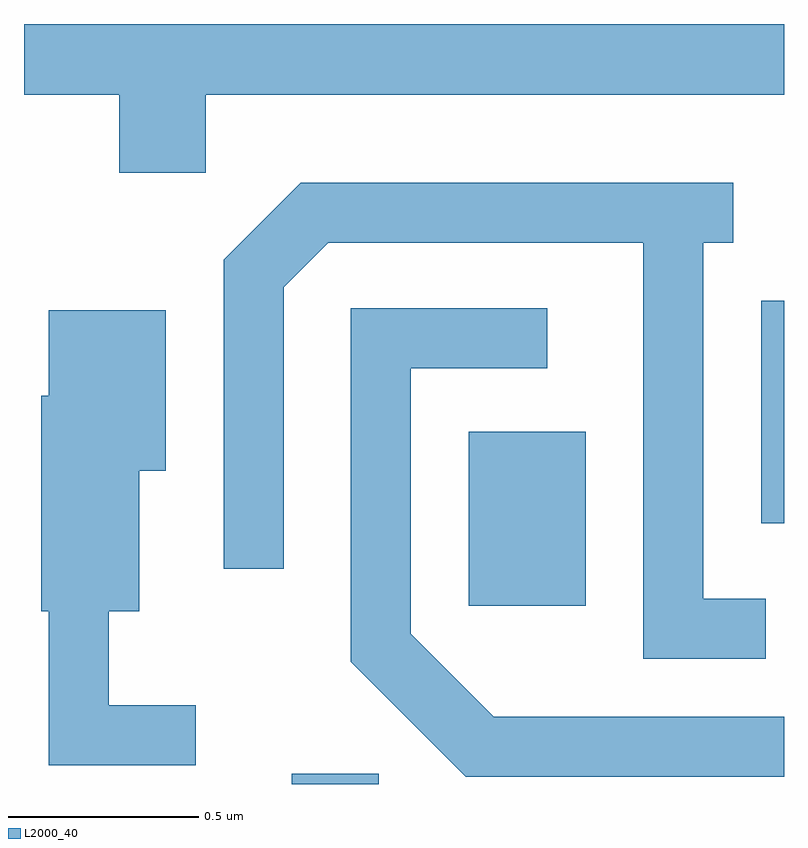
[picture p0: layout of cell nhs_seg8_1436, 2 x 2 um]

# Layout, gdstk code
import gdstk
lib = gdstk.Library(unit=1e-6, precision=1e-09)
def R(c, l, rs):  # rectangles x0, y0, x1, y1
    for r in rs: c.add(gdstk.rectangle(r[:2], r[2:], *l))
def P(c, l, *ps):  # polygons
    for p in ps: c.add(gdstk.Polygon(p, *l))
L2000_40 = (2000, 40)

nhs_seg8_1436 = lib.new_cell('nhs_seg8_1436')
R(nhs_seg8_1436, L2000_40, [(196.316,1872.342,196.544,1872.369), (196.781,1872.811,197.089,1873.269), (197.551,1873.028,197.611,1873.614)])
P(nhs_seg8_1436, L2000_40, [(196.089,1874.156),(197.611,1874.156),(197.611,1874.342),(195.611,1874.342),(195.611,1874.156),(195.861,1874.156),(195.861,1873.951),(196.089,1873.951)],
  [(197.563,1872.829),(197.399,1872.829),(197.399,1873.766),(197.478,1873.766),(197.478,1873.924),(196.339,1873.924),(196.136,1873.722),(196.136,1872.908),(196.294,1872.908),(196.294,1873.649),(196.412,1873.766),(197.241,1873.766),(197.241,1872.671),(197.563,1872.671)],
  [(197.611,1872.519),(196.847,1872.519),(196.629,1872.737),(196.629,1873.436),(196.988,1873.436),(196.988,1873.594),(196.471,1873.594),(196.471,1872.664),(196.774,1872.361),(197.611,1872.361)],
  [(196.063,1872.549),(195.834,1872.549),(195.834,1872.796),(195.914,1872.796),(195.914,1873.166),(195.984,1873.166),(195.984,1873.589),(195.676,1873.589),(195.676,1873.364),(195.656,1873.364),(195.656,1872.796),(195.676,1872.796),(195.676,1872.391),(196.063,1872.391)])

lib.write_gds('nhs_seg8_1436.gds')
